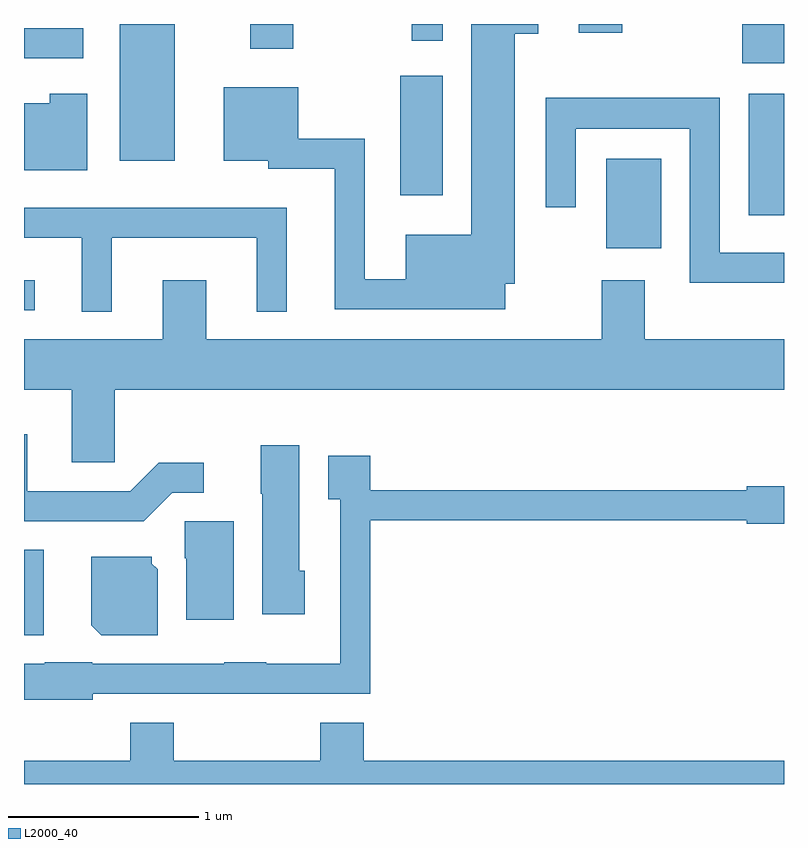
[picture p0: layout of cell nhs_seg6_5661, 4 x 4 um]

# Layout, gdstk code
import gdstk
lib = gdstk.Library(unit=1e-6, precision=1e-09)
def R(c, l, rs):  # rectangles x0, y0, x1, y1
    for r in rs: c.add(gdstk.rectangle(r[:2], r[2:], *l))
def P(c, l, *ps):  # polygons
    for p in ps: c.add(gdstk.Polygon(p, *l))
L2000_40 = (2000, 40)

nhs_seg6_5661 = lib.new_cell('nhs_seg6_5661')
R(nhs_seg6_5661, L2000_40, [(357.611,1570.946,357.714,1571.394), (357.611,1572.656,357.668,1572.814), (360.676,1572.981,360.964,1573.454), (361.426,1573.156,361.611,1573.794), (359.591,1573.261,359.814,1573.889), (358.116,1573.441,358.404,1574.162), (361.391,1573.956,361.611,1574.162), (357.611,1573.981,357.923,1574.139), (358.801,1574.031,359.029,1574.162), (359.651,1574.073,359.814,1574.162), (360.531,1574.116,360.759,1574.162)])
P(nhs_seg6_5661, L2000_40, [(360.144,1572.796),(360.194,1572.796),(360.194,1574.111),(360.318,1574.111),(360.318,1574.162),(359.966,1574.162),(359.966,1573.054),(359.621,1573.054),(359.621,1572.819),(359.404,1572.819),(359.404,1573.559),(359.054,1573.559),(359.054,1573.829),(358.661,1573.829),(358.661,1573.441),(358.896,1573.441),(358.896,1573.401),(359.246,1573.401),(359.246,1572.661),(360.144,1572.661)],
  [(357.944,1573.794),(357.746,1573.794),(357.746,1573.744),(357.611,1573.744),(357.611,1573.391),(357.944,1573.391)],
  [(361.611,1572.959),(361.274,1572.959),(361.274,1573.774),(360.356,1573.774),(360.356,1573.198),(360.514,1573.198),(360.514,1573.611),(361.116,1573.611),(361.116,1572.801),(361.611,1572.801)],
  [(358.074,1573.036),(358.836,1573.036),(358.836,1572.648),(358.994,1572.648),(358.994,1573.194),(357.611,1573.194),(357.611,1573.036),(357.916,1573.036),(357.916,1572.648),(358.074,1572.648)],
  [(358.089,1572.236),(361.611,1572.236),(361.611,1572.504),(360.879,1572.504),(360.879,1572.814),(360.651,1572.814),(360.651,1572.504),(358.569,1572.504),(358.569,1572.814),(358.341,1572.814),(358.341,1572.504),(357.611,1572.504),(357.611,1572.236),(357.861,1572.236),(357.861,1571.856),(358.089,1571.856)],
  [(358.392,1571.696),(358.558,1571.696),(358.558,1571.854),(358.319,1571.854),(358.169,1571.704),(357.629,1571.704),(357.629,1572.004),(357.611,1572.004),(357.611,1571.546),(358.242,1571.546)],
  [(359.089,1571.284),(359.059,1571.284),(359.059,1571.944),(358.856,1571.944),(358.856,1571.69),(358.866,1571.69),(358.866,1571.056),(359.089,1571.056)],
  [(357.974,1570.636),(359.434,1570.636),(359.434,1571.551),(361.416,1571.551),(361.416,1571.531),(361.611,1571.531),(361.611,1571.729),(361.416,1571.729),(361.416,1571.709),(359.434,1571.709),(359.434,1571.889),(359.211,1571.889),(359.211,1571.661),(359.276,1571.661),(359.276,1570.794),(358.885,1570.794),(358.885,1570.804),(358.665,1570.804),(358.665,1570.794),(357.97,1570.794),(357.97,1570.804),(357.72,1570.804),(357.72,1570.794),(357.611,1570.794),(357.611,1570.606),(357.974,1570.606)],
  [(358.714,1571.544),(358.456,1571.544),(358.456,1571.35),(358.466,1571.35),(358.466,1571.026),(358.714,1571.026)],
  [(358.314,1571.292),(358.284,1571.322),(358.284,1571.359),(357.966,1571.359),(357.966,1570.997),(358.017,1570.946),(358.314,1570.946)],
  [(361.611,1570.284),(359.399,1570.284),(359.399,1570.484),(359.171,1570.484),(359.171,1570.284),(358.399,1570.284),(358.399,1570.484),(358.171,1570.484),(358.171,1570.284),(357.611,1570.284),(357.611,1570.162),(361.611,1570.162)])

lib.write_gds('nhs_seg6_5661.gds')
